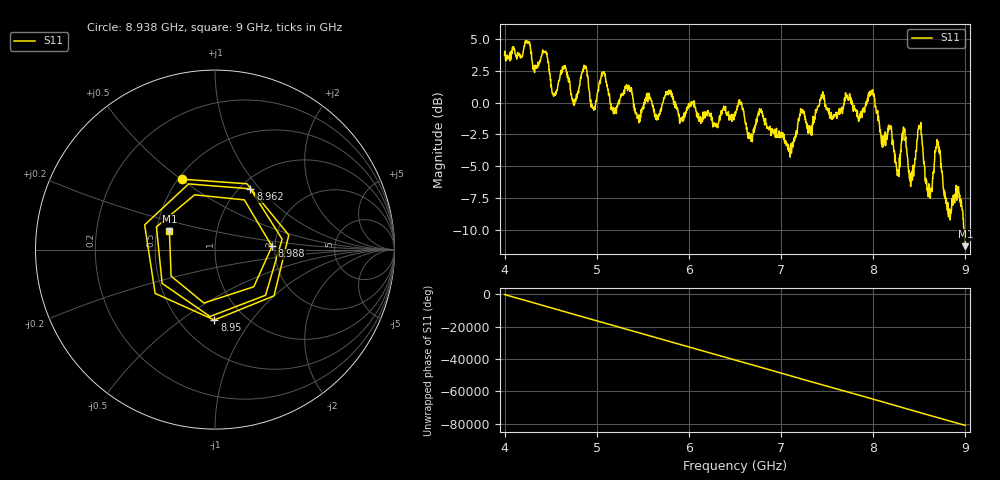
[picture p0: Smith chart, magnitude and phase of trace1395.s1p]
! Created with skrf 1.8.0 (http://scikit-rf.org).
# Hz S RI R 50.0
!freq ReS11 ImS11
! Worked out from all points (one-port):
!   1601 points, 4 GHz to 9 GHz, reference 50 ohm
!   lowest |S11| = -11.2 dB at 9 GHz (marker M1), VSWR 1.75, Z = 29.2 + j6.47 ohm
!   |S11| at or under -10 dB: 8.988264 GHz to end of sweep
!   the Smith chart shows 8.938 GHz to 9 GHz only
!   S11 on the Smith chart (normalised r, x): 8.938 GHz: 0.52, +0.50; 8.95 GHz: 0.73, -0.68; 8.962 GHz: 1.12, +0.89; 8.988 GHz: 1.93, +0.08; 9 GHz: 0.58, +0.13
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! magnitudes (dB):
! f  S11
! 4 GHz  3.7
! 4.438 GHz  4.0
! 4.538 GHz  0.7
! 4.625 GHz  2.4
! 4.75 GHz  -0.2
! 4.869 GHz  2.9
! 4.956 GHz  -0.4
! 5.069 GHz  2.4
! 5.25 GHz  0.3
! 5.875 GHz  -0.4
! 6.5 GHz  -0.8
! 7.125 GHz  -3.1
! 7.225 GHz  -0.6
! 7.75 GHz  0.5
! 7.991 GHz  1.0
! 8.103 GHz  -2.8
! 8.331 GHz  -2.2
! 8.375 GHz  -4.4
! 8.425 GHz  -6.1
! 8.506 GHz  -1.9
! 8.6 GHz  -7.1
! 8.697 GHz  -3.2
! 8.822 GHz  -8.9
! 8.938 GHz  -7.2
! 8.95 GHz  -8.1
! 8.962 GHz  -8.1
! 8.988 GHz  -10.0
! 9 GHz  -11.2
